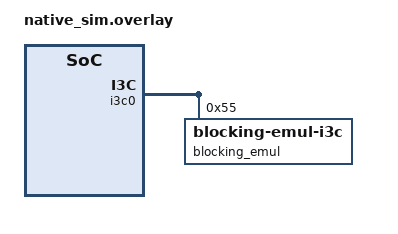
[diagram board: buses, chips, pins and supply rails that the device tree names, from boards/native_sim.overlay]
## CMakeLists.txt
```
# Copyright (c) 2026 Meta Platforms
# SPDX-License-Identifier: Apache-2.0

cmake_minimum_required(VERSION 3.20.0)
find_package(Zephyr REQUIRED HINTS $ENV{ZEPHYR_BASE})
project(rtio_i3c_test)

target_sources(app PRIVATE
  src/blocking_emul.cpp
  src/main.cpp
)

target_include_directories(app PRIVATE include)
```

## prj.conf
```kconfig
# Copyright (c) 2026 Meta Platforms
# SPDX-License-Identifier: Apache-2.0

# Features being tested
CONFIG_LOG=y
CONFIG_RTIO=y
CONFIG_I3C=y
CONFIG_I3C_DUAL_ROLE=y
CONFIG_I3C_RTIO=y
CONFIG_I3C_EMUL=y
CONFIG_EMUL=y

# I2C support pulled in by the I3C subsys for legacy-I2C-on-I3C routing.
CONFIG_I2C=y
CONFIG_I2C_RTIO=y

# Testing
CONFIG_ZTEST=y

# The number of pending requests allowed (size for the work-queue overflow test).
CONFIG_RTIO_WORKQ_POOL_ITEMS=2

# Used for debugging
CONFIG_I3C_LOG_LEVEL_DBG=y

# Language features for capturing lambdas
CONFIG_CPP=y
CONFIG_STD_CPP17=y
CONFIG_REQUIRES_FULL_LIBCPP=y
```

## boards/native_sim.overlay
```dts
/*
 * Copyright (c) 2026 Meta Platforms
 * SPDX-License-Identifier: Apache-2.0
 */

&i3c0 {
	blocking_emul: blocking_emul@550000abcd00001234 {
		compatible = "zephyr,blocking-emul-i3c";
		reg = <0x55 0xabcd 0x00001234>;
		bcr = <0x20>;
		dcr = <0x6c>;
	};
};
```

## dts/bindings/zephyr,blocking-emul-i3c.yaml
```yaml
# Copyright (c) 2026 Meta Platforms
# SPDX-License-Identifier: Apache-2.0

description: |
  I3C peripheral emulator used by the subsys/rtio rtio_i3c test.
  Sits on a zephyr,i3c-emul bus and forwards xfers / do_ccc to
  FFF-wrapped fakes so tests can intercept and assert on the
  driver-supplied messages.

compatible: "zephyr,blocking-emul-i3c"

include: [i3c-device.yaml]

properties:
  bcr:
    type: int
    default: 0x20

  dcr:
    type: int
    default: 0x6c
```

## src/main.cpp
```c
/* Copyright (c) 2026 Meta Platforms
 * SPDX-License-Identifier: Apache-2.0
 *
 * Exercises i3c_iodev_submit_fallback — the workqueue-based subsys helper
 * that controllers without a native RTIO submit fall back to. Modeled on
 * tests/subsys/rtio/rtio_i2c so the two paths can be compared side-by-side.
 *
 * The controller is zephyr,i3c-emul (which binds .iodev_submit to
 * i3c_iodev_submit_fallback). The peripheral on the bus is a custom
 * blocking_emul whose xfers callback is FFF-wrapped so each test can install
 * a capturing lambda and assert on the driver-supplied msgs.
 */

#include "blocking_emul.hpp"

#include <zephyr/drivers/i3c.h>
#include <zephyr/drivers/i3c/rtio.h>
#include <zephyr/fff.h>
#include <zephyr/rtio/rtio.h>
#include <zephyr/ztest.h>

DEFINE_FFF_GLOBALS;

static const struct device *i3c_dev = DEVICE_DT_GET(DT_NODELABEL(i3c0));
I3C_DT_IODEV_DEFINE(blocking_emul_iodev, DT_NODELABEL(blocking_emul));

RTIO_DEFINE(test_rtio_ctx, 4, 4);

static void rtio_i3c_before(void *fixture)
{
	ARG_UNUSED(fixture);
	RESET_FAKE(blocking_emul_i3c_xfers);
	RESET_FAKE(blocking_emul_i3c_do_ccc);
	FFF_RESET_HISTORY();

	rtio_sqe_drop_all(&test_rtio_ctx);

	struct rtio_cqe *cqe;

	while ((cqe = rtio_cqe_consume(&test_rtio_ctx)) != NULL) {
		rtio_cqe_release(&test_rtio_ctx, cqe);
	}
}

ZTEST_SUITE(rtio_i3c, NULL, NULL, rtio_i3c_before, NULL, NULL);

ZTEST(rtio_i3c, test_emulated_api_uses_fallback_submit)
{
	zassert_not_null(i3c_dev->api);
	zassert_equal_ptr(i3c_iodev_submit_fallback,
			  ((const struct i3c_driver_api *)i3c_dev->api)->iodev_submit);
}

ZTEST(rtio_i3c, test_fallback_submit_tx)
{
	uint8_t data[] = {0x01, 0x02, 0x03};
	struct i3c_msg msg = {
		.buf = data,
		.len = ARRAY_SIZE(data),
		.flags = I3C_MSG_WRITE | I3C_MSG_STOP,
	};

	blocking_emul_i3c_xfers_fake.custom_fake =
		[&msg](const struct emul *, struct i3c_msg *msgs, uint8_t num_msgs) {
			zassert_equal(1, num_msgs);
			zassert_equal(msg.len, msgs[0].len);
			zassert_mem_equal(msg.buf, msgs[0].buf, msg.len);
			zassert_equal(msg.flags, msgs[0].flags);
			return 0;
		};

	struct rtio_sqe *sqe = i3c_rtio_copy(&test_rtio_ctx, &blocking_emul_iodev, &msg, 1);

	zassert_not_null(sqe);
	zassert_ok(rtio_submit(&test_rtio_ctx, 1));
	zassert_equal(1, blocking_emul_i3c_xfers_fake.call_count);

	struct rtio_cqe *cqe = rtio_cqe_consume_block(&test_rtio_ctx);

	zassert_ok(cqe->result);
	rtio_cqe_release(&test_rtio_ctx, cqe);
}

ZTEST(rtio_i3c, test_fallback_submit_invalid_op)
{
	struct rtio_sqe *sqe = rtio_sqe_acquire(&test_rtio_ctx);

	zassert_not_null(sqe);
	sqe->op = UINT8_MAX;
	sqe->prio = RTIO_PRIO_NORM;
	sqe->iodev = &blocking_emul_iodev;
	sqe->userdata = NULL;

	zassert_ok(rtio_submit(&test_rtio_ctx, 1));
	zassert_equal(0, blocking_emul_i3c_xfers_fake.call_count);

	struct rtio_cqe *cqe = rtio_cqe_consume_block(&test_rtio_ctx);

	zassert_equal(-EIO, cqe->result);
	rtio_cqe_release(&test_rtio_ctx, cqe);
}

ZTEST(rtio_i3c, test_fallback_submit_tiny_tx)
{
	uint8_t data[] = {0x01, 0x02, 0x03};
	struct rtio_sqe *sqe = rtio_sqe_acquire(&test_rtio_ctx);

	blocking_emul_i3c_xfers_fake.custom_fake =
		[&data](const struct emul *, struct i3c_msg *msgs, uint8_t num_msgs) {
			zassert_equal(1, num_msgs);
			zassert_equal(ARRAY_SIZE(data), msgs[0].len);
			zassert_mem_equal(data, msgs[0].buf, msgs[0].len);
			zassert_equal(I3C_MSG_WRITE | I3C_MSG_STOP, msgs[0].flags);
			return 0;
		};

	zassert_not_null(sqe);

	rtio_sqe_prep_tiny_write(sqe, &blocking_emul_iodev, RTIO_PRIO_NORM, data, ARRAY_SIZE(data),
				 NULL);
	sqe->iodev_flags = RTIO_IODEV_I3C_STOP;
	zassert_ok(rtio_submit(&test_rtio_ctx, 1));
	zassert_equal(1, blocking_emul_i3c_xfers_fake.call_count);

	struct rtio_cqe *cqe = rtio_cqe_consume_block(&test_rtio_ctx);

	zassert_ok(cqe->result);
	rtio_cqe_release(&test_rtio_ctx, cqe);
}

ZTEST(rtio_i3c, test_fallback_submit_rx)
{
	uint8_t expected_buffer[] = {0x00, 0x01, 0x02};
	uint8_t buffer[ARRAY_SIZE(expected_buffer)] = {0};
	struct i3c_msg msg = {
		.buf = buffer,
		.len = ARRAY_SIZE(buffer),
		.flags = I3C_MSG_READ | I3C_MSG_STOP,
	};

	blocking_emul_i3c_xfers_fake.custom_fake =
		[&msg](const struct emul *, struct i3c_msg *msgs, uint8_t num_msgs) {
			zassert_equal(1, num_msgs);
			zassert_equal(msg.len, msgs[0].len);
			zassert_equal(msg.flags, msgs[0].flags);
			for (uint8_t i = 0; i < msg.len; ++i) {
				msgs[0].buf[i] = i;
			}
			return 0;
		};

	struct rtio_sqe *sqe = i3c_rtio_copy(&test_rtio_ctx, &blocking_emul_iodev, &msg, 1);

	zassert_not_null(sqe);
	zassert_ok(rtio_submit(&test_rtio_ctx, 1));
	zassert_equal(1, blocking_emul_i3c_xfers_fake.call_count);

	struct rtio_cqe *cqe = rtio_cqe_consume_block(&test_rtio_ctx);

	zassert_ok(cqe->result);
	zassert_mem_equal(buffer, expected_buffer, ARRAY_SIZE(expected_buffer));

	rtio_cqe_release(&test_rtio_ctx, cqe);
}

ZTEST(rtio_i3c, test_fallback_transaction_error)
{
	uint8_t buffer[3];
	struct rtio_sqe *phase1 = rtio_sqe_acquire(&test_rtio_ctx);
	struct rtio_sqe *phase2 = rtio_sqe_acquire(&test_rtio_ctx);

	blocking_emul_i3c_xfers_fake.return_val = -EIO;

	zassert_not_null(phase1);
	zassert_not_null(phase2);

	rtio_sqe_prep_read(phase1, &blocking_emul_iodev, RTIO_PRIO_NORM, buffer, ARRAY_SIZE(buffer),
			   NULL);
	rtio_sqe_prep_read(phase2, &blocking_emul_iodev, RTIO_PRIO_NORM, buffer, ARRAY_SIZE(buffer),
			   NULL);

	phase1->flags |= RTIO_SQE_TRANSACTION;

	zassert_ok(rtio_submit(&test_rtio_ctx, 2));
	zassert_equal(1, blocking_emul_i3c_xfers_fake.call_count);

	struct rtio_cqe *cqe = rtio_cqe_consume_block(&test_rtio_ctx);

	zassert_equal(-EIO, cqe->result);

	rtio_cqe_release(&test_rtio_ctx, cqe);

	/* The transaction yields a second CQE that must be drained. */
	cqe = rtio_cqe_consume_block(&test_rtio_ctx);
	rtio_cqe_release(&test_rtio_ctx, cqe);
}

ZTEST(rtio_i3c, test_fallback_transaction)
{
	uint8_t buffer[3];
	struct rtio_sqe *phase1 = rtio_sqe_acquire(&test_rtio_ctx);
	struct rtio_sqe *phase2 = rtio_sqe_acquire(&test_rtio_ctx);

	zassert_not_null(phase1);
	zassert_not_null(phase2);

	rtio_sqe_prep_read(phase1, &blocking_emul_iodev, RTIO_PRIO_NORM, buffer, ARRAY_SIZE(buffer),
			   NULL);
	rtio_sqe_prep_read(phase2, &blocking_emul_iodev, RTIO_PRIO_NORM, buffer, ARRAY_SIZE(buffer),
			   NULL);

	phase1->flags |= RTIO_SQE_TRANSACTION;

	zassert_ok(rtio_submit(&test_rtio_ctx, 2));
	zassert_equal(1, blocking_emul_i3c_xfers_fake.call_count);

	struct rtio_cqe *cqe;

	cqe = rtio_cqe_consume_block(&test_rtio_ctx);
	zassert_ok(cqe->result);
	rtio_cqe_release(&test_rtio_ctx, cqe);

	cqe = rtio_cqe_consume_block(&test_rtio_ctx);
	zassert_ok(cqe->result);
	rtio_cqe_release(&test_rtio_ctx, cqe);
}

ZTEST(rtio_i3c, test_fallback_submit_hdr_ddr)
{
	uint8_t data[] = {0xAA, 0x55, 0xCC, 0x33};
	struct rtio_sqe *sqe = rtio_sqe_acquire(&test_rtio_ctx);

	blocking_emul_i3c_xfers_fake.custom_fake =
		[&data](const struct emul *, struct i3c_msg *msgs, uint8_t num_msgs) {
			zassert_equal(1, num_msgs);
			zassert_equal(ARRAY_SIZE(data), msgs[0].len);
			zassert_mem_equal(data, msgs[0].buf, msgs[0].len);
			zassert_true((msgs[0].flags & I3C_MSG_HDR) != 0,
				     "I3C_MSG_HDR not delivered: flags=0x%x", msgs[0].flags);
			/* I3C_MSG_WRITE is the absence of I3C_MSG_READ. */
			zassert_true((msgs[0].flags & I3C_MSG_READ) == 0,
				     "Unexpected I3C_MSG_READ on write: flags=0x%x", msgs[0].flags);
			return 0;
		};

	zassert_not_null(sqe);
	rtio_sqe_prep_write(sqe, &blocking_emul_iodev, RTIO_PRIO_NORM, data, ARRAY_SIZE(data),
			    NULL);
	sqe->iodev_flags = RTIO_IODEV_I3C_STOP | RTIO_IODEV_I3C_HDR |
			   RTIO_IODEV_I3C_HDR_MODE_SET(I3C_MSG_HDR_DDR);

	zassert_ok(rtio_submit(&test_rtio_ctx, 1));
	zassert_equal(1, blocking_emul_i3c_xfers_fake.call_count);

	struct rtio_cqe *cqe = rtio_cqe_consume_block(&test_rtio_ctx);

	zassert_ok(cqe->result);
	rtio_cqe_release(&test_rtio_ctx, cqe);
}

ZTEST(rtio_i3c, test_work_queue_overflow)
{
	BUILD_ASSERT(CONFIG_RTIO_WORKQ_POOL_ITEMS == 2);

	uint8_t data[][2] = {
		{0x01, 0x02},
		{0x03, 0x04},
		{0x05, 0x06},
	};
	struct i3c_msg msg[] = {
		{
			.buf = data[0],
			.len = 2,
			.flags = I3C_MSG_WRITE | I3C_MSG_STOP,
		},
		{
			.buf = data[1],
			.len = 2,
			.flags = I3C_MSG_READ | I3C_MSG_STOP,
		},
		{
			.buf = data[2],
			.len = 2,
			.flags = I3C_MSG_READ | I3C_MSG_STOP,
		},
	};

	BUILD_ASSERT(ARRAY_SIZE(data) == ARRAY_SIZE(msg));

	blocking_emul_i3c_xfers_fake.custom_fake =
		[&msg](const struct emul *, struct i3c_msg *msgs, uint8_t num_msgs) {
			zassert_equal(1, num_msgs);

			/* Both reads share the same len and flags, so READ vs WRITE
			 * can't tell msg[1] from msg[2]. Which submission survives the
			 * pool overflow is nondeterministic, so identify the message by
			 * its buffer pointer, which i3c_rtio_copy preserves.
			 */
			int msg_idx = -1;

			for (unsigned int i = 0; i < ARRAY_SIZE(msg); ++i) {
				if (msgs[0].buf == msg[i].buf) {
					msg_idx = i;
					break;
				}
			}

			zassert_true(msg_idx >= 0, "xfer buffer matched no message");

			zassert_equal(msg[msg_idx].len, msgs[0].len);
			zassert_mem_equal(msg[msg_idx].buf, msgs[0].buf, msg[msg_idx].len,
					  "Expected [0x%02x, 0x%02x] but got [0x%02x, 0x%02x]",
					  msg[msg_idx].buf[0], msg[msg_idx].buf[1], msgs[0].buf[0],
					  msgs[0].buf[1]);
			zassert_equal(msg[msg_idx].flags, msgs[0].flags);
			return 0;
		};

	struct rtio_sqe *sqe_write =
		i3c_rtio_copy(&test_rtio_ctx, &blocking_emul_iodev, &msg[0], 1);
	struct rtio_sqe *sqe_read = i3c_rtio_copy(&test_rtio_ctx, &blocking_emul_iodev, &msg[1], 1);
	struct rtio_sqe *sqe_dropped =
		i3c_rtio_copy(&test_rtio_ctx, &blocking_emul_iodev, &msg[2], 1);

	zassert_not_null(sqe_write);
	zassert_not_null(sqe_read);
	zassert_not_null(sqe_dropped);

	sqe_write->userdata = &msg[0];
	sqe_read->userdata = &msg[1];
	sqe_dropped->userdata = &msg[2];

	zassert_ok(rtio_submit(&test_rtio_ctx, 3));

	struct rtio_cqe *cqe[] = {
		rtio_cqe_consume_block(&test_rtio_ctx),
		rtio_cqe_consume_block(&test_rtio_ctx),
		rtio_cqe_consume_block(&test_rtio_ctx),
	};

	uint8_t msg_seen_mask = 0;
	uint8_t enomem_count = 0;
	uint8_t ok_count = 0;

	for (unsigned int i = 0; i < ARRAY_SIZE(cqe); ++i) {
		int msg_idx = (struct i3c_msg *)cqe[i]->userdata - msg;

		zassert_true(msg_idx >= 0 && msg_idx < 3);
		msg_seen_mask |= BIT(msg_idx);
		if (cqe[i]->result == 0) {
			ok_count++;
		} else if (cqe[i]->result == -ENOMEM) {
			enomem_count++;
		} else {
			zassert_unreachable("unexpected cqe result %d for msg %d", cqe[i]->result,
					    msg_idx);
		}
	}

	zassert_equal(0x7, msg_seen_mask, "expected to see all 3 messages, mask=0x%x",
		      msg_seen_mask);
	/* At least one OK and at least one ENOMEM — the pool overflowed but the
	 * surviving allocations all completed via the xfers fake.
	 */
	zassert_true(ok_count >= 1, "no successful CQEs");
	zassert_true(enomem_count >= 1, "no -ENOMEM CQE — pool didn't overflow");
	zassert_equal(ok_count, blocking_emul_i3c_xfers_fake.call_count,
		      "fake called %u times but %u CQEs succeeded",
		      blocking_emul_i3c_xfers_fake.call_count, ok_count);

	rtio_cqe_release(&test_rtio_ctx, cqe[0]);
	rtio_cqe_release(&test_rtio_ctx, cqe[1]);
	rtio_cqe_release(&test_rtio_ctx, cqe[2]);
}
```

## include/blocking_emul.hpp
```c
/* Copyright (c) 2026 Meta Platforms
 * SPDX-License-Identifier: Apache-2.0
 */

#pragma once

#include <functional>

/*
 * Mirror of tests/subsys/rtio/rtio_i2c/include/blocking_emul.hpp:
 * override FFF's function-pointer signature with std::function so test
 * lambdas can capture local state and call zassert_* inline. The lambda
 * captures give failure messages pointing into the test function itself
 * rather than a static-global setup helper.
 *
 * Example:
 * @code
 * const uint8_t expected = 0x42;
 * blocking_emul_i3c_xfers_fake.custom_fake =
 *     [&expected](const struct emul *, struct i3c_msg *msgs, uint8_t n) {
 *         zassert_equal(1, n);
 *         zassert_equal(expected, msgs[0].buf[0]);
 *         return 0;
 *     };
 * @endcode
 */
#define CUSTOM_FFF_FUNCTION_TEMPLATE(RETURN, FUNCNAME, ...)                                        \
	std::function<RETURN(__VA_ARGS__)> FUNCNAME

#include <zephyr/drivers/i3c.h>
#include <zephyr/drivers/i3c/ccc.h>
#include <zephyr/drivers/emul.h>
#include <zephyr/fff.h>

DECLARE_FAKE_VALUE_FUNC(int, blocking_emul_i3c_xfers, const struct emul *, struct i3c_msg *,
			uint8_t);
DECLARE_FAKE_VALUE_FUNC(int, blocking_emul_i3c_do_ccc, const struct emul *,
			struct i3c_ccc_payload *);
```

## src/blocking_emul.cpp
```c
/* Copyright (c) 2026 Meta Platforms
 * SPDX-License-Identifier: Apache-2.0
 */

#include "blocking_emul.hpp"

#include <zephyr/device.h>
#include <zephyr/drivers/emul.h>
#include <zephyr/drivers/i3c.h>
#include <zephyr/drivers/i3c/devicetree.h>
#include <zephyr/drivers/i3c_emul.h>
#include <zephyr/logging/log.h>

#define DT_DRV_COMPAT zephyr_blocking_emul_i3c

LOG_MODULE_REGISTER(blocking_emul_i3c, CONFIG_I3C_LOG_LEVEL);

DEFINE_FAKE_VALUE_FUNC(int, blocking_emul_i3c_xfers, const struct emul *, struct i3c_msg *,
		       uint8_t);
DEFINE_FAKE_VALUE_FUNC(int, blocking_emul_i3c_do_ccc, const struct emul *,
		       struct i3c_ccc_payload *);

static const struct i3c_emul_api blocking_emul_api = {
	.xfers = blocking_emul_i3c_xfers,
	.do_ccc = blocking_emul_i3c_do_ccc,
};

struct blocking_emul_cfg {
	uint64_t pid;
	uint8_t bcr;
	uint8_t dcr;
};

static int blocking_emul_init(const struct emul *target, const struct device *parent)
{
	const struct blocking_emul_cfg *cfg = (const struct blocking_emul_cfg *)target->cfg;

	ARG_UNUSED(parent);

	target->bus.i3c->pid = cfg->pid;
	target->bus.i3c->bcr = cfg->bcr;
	target->bus.i3c->dcr = cfg->dcr;
	target->bus.i3c->enabled_events = I3C_CCC_EVT_INTR | I3C_CCC_EVT_CR;

	return 0;
}

#define BLOCKING_EMUL_INIT(n)                                                                      \
	static const struct blocking_emul_cfg blocking_emul_cfg_##n = {                            \
		.pid = ((uint64_t)DT_INST_PROP_BY_IDX(n, reg, 1) << 32) |                          \
		       DT_INST_PROP_BY_IDX(n, reg, 2),                                             \
		.bcr = DT_INST_PROP(n, bcr),                                                       \
		.dcr = DT_INST_PROP(n, dcr),                                                       \
	};                                                                                         \
	I3C_DEVICE_DT_INST_DEFINE(n, NULL, NULL, NULL, &blocking_emul_cfg_##n, POST_KERNEL,        \
				  CONFIG_APPLICATION_INIT_PRIORITY, NULL);                         \
	EMUL_DT_INST_DEFINE(n, blocking_emul_init, NULL, &blocking_emul_cfg_##n, &blocking_emul_api, \
			    NULL);

DT_INST_FOREACH_STATUS_OKAY(BLOCKING_EMUL_INIT)
```
